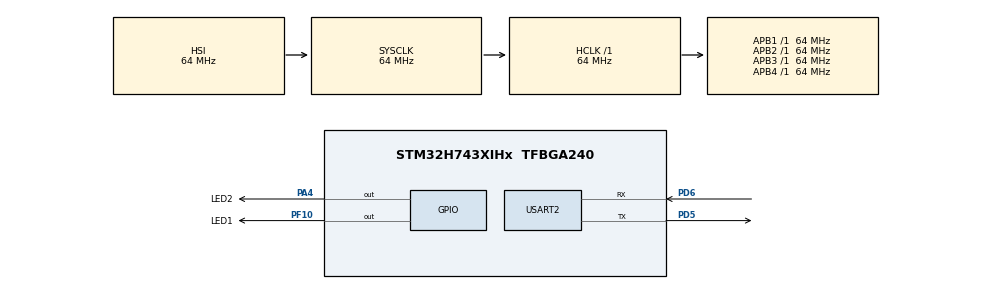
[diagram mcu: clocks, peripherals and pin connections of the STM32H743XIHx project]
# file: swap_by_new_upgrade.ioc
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CORTEX_M7.CPU_DCache=Enabled
CORTEX_M7.CPU_ICache=Enabled
CORTEX_M7.default_mode_Activation=1
Mcu.Family=STM32H7
Mcu.Name=STM32H743XIHx
Mcu.Package=TFBGA240
NVIC.PriorityGroup=NVIC_PRIORITYGROUP_4
NVIC.USART2_IRQn=true\:0\:0\:false\:false\:true\:true\:true\:true
PA4.GPIO_Label=LED2
PA4.PinState=GPIO_PIN_SET
PA4.Signal=GPIO_Output
PD5.Mode=Asynchronous
PD5.Signal=USART2_TX
PD6.Mode=Asynchronous
PD6.Signal=USART2_RX
PF10.GPIO_Label=LED1
PF10.PinState=GPIO_PIN_SET
PF10.Signal=GPIO_Output
PH0-OSC_IN\ (PH0).Mode=HSE-External-Oscillator
PH0-OSC_IN\ (PH0).Signal=RCC_OSC_IN
PH1-OSC_OUT\ (PH1).Mode=HSE-External-Oscillator
PH1-OSC_OUT\ (PH1).Signal=RCC_OSC_OUT
ProjectManager.HeapSize=0x200
ProjectManager.StackSize=0x400
ProjectManager.TargetToolchain=STM32CubeIDE
RCC.ADCFreq_Value=129000000
RCC.APB1Freq_Value=64000000
RCC.APB2Freq_Value=64000000
RCC.APB3Freq_Value=64000000
RCC.APB4Freq_Value=64000000
RCC.CortexFreq_Value=64000000
RCC.HCLKFreq_Value=64000000
RCC.PWR_Regulator_Voltage_Scale=PWR_REGULATOR_VOLTAGE_SCALE1
RCC.SYSCLKFreq_VALUE=64000000
RCC.USBFreq_Value=129000000
STMicroelectronics.X-CUBE-AZRTOS-H7.3.2.0.TX_APP_MEM_POOL_SIZE=512
STMicroelectronics.X-CUBE-AZRTOS-H7.3.2.0_IsAnAzureRtosMw=true
USART2.VirtualMode-Asynchronous=VM_ASYNC
board=STM32H743I-EVAL2

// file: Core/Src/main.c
/* USER CODE BEGIN Header */
/**
 ******************************************************************************
 * @file           : main.c
 * @brief          : Main program body
 ******************************************************************************
 * @attention
 *
 * Copyright (c) 2024 STMicroelectronics.
 * All rights reserved.
 *
 * This software is licensed under terms that can be found in the LICENSE file
 * in the root directory of this software component.
 * If no LICENSE file comes with this software, it is provided AS-IS.
 *
 ******************************************************************************
 */
/* USER CODE END Header */
#include "main.h"
#include "usart.h"
#include "gpio.h"

/* USER CODE BEGIN Includes */
#include <stdlib.h>
#include "MQTTSim800.h"
#include <string.h>
#include <stdio.h>
#include "stm32h743i_eval.h"
#include "stm32h743i_eval_lcd.h"
#include "stm32h743i_eval_ts.h"
#include "fonts.h"
#include "stm32_lcd.h"
#include "stm32h743i_eval_sdram.h"
#include "stm32h7xx_hal.h"
#include "stm32h743i_eval_qspi.h"
#include "stm32h743i_eval_eeprom.h"
#include "stdio.h"
#include"stlogo.h"
/* USER CODE END Includes */

/* USER CODE BEGIN PD */
#define UART_SIM800 &huart2
#define FREERTOS 0
#define CMD_DELAY 2000
/* USER CODE END PD */

/* USER CODE BEGIN PV */
FLASH_OBProgramInitTypeDef OBInit;
SIM800_t SIM800;
uint8_t buf[30] = {0};
unsigned char  rec[64] ;
/* USER CODE END PV */

void SystemClock_Config(void);
static void MPU_Initialize(void);
static void MPU_Config(void);

/* USER CODE BEGIN 0 */
void HAL_UART_RxCpltCallback(UART_HandleTypeDef *huart) {
	if (huart == UART_SIM800) {
		Sim800_RxCallBack();
	}
}
TS_State_t  TS_State = {0};
TS_Init_t  hTS;
char xTouchStr[10];
char yTouchStr[10];
uint16_t x1;
uint16_t y;
uint8_t state = 0;
uint32_t ts_status = BSP_ERROR_NONE;
uint32_t x_size, y_size;
/* USER CODE END 0 */

int main(void)
{

	/* Enable I-Cache---------------------------------------------------------*/
	SCB_EnableICache();

	/* Enable D-Cache---------------------------------------------------------*/
	SCB_EnableDCache();

	/* MCU Configuration--------------------------------------------------------*/

	/* Reset of all peripherals, Initializes the Flash interface and the Systick. */
	HAL_Init();

	/* MPU Configuration--------------------------------------------------------*/
	MPU_Config();

	/* Configure the system clock */
	SystemClock_Config();

	/* Initialize all configured peripherals */
	MX_GPIO_Init();
	MX_USART2_UART_Init();
	/* USER CODE BEGIN 2 */
	// MQQT settings
	BSP_LCD_Init(0, LCD_ORIENTATION_LANDSCAPE);
		UTIL_LCD_SetFuncDriver(&LCD_Driver);
		char desc[50];
		uint32_t x_size;
		uint32_t y_size;

		UTIL_LCD_SetFont(&UTIL_LCD_DEFAULT_FONT);

		/* Clear the LCD */
		UTIL_LCD_SetBackColor(UTIL_LCD_COLOR_GRAY);
		UTIL_LCD_Clear(UTIL_LCD_COLOR_GRAY);

		/* Set the LCD Text Color */
		UTIL_LCD_SetTextColor(UTIL_LCD_COLOR_DARKBLUE);

		/* Display LCD messages */
		UTIL_LCD_DisplayStringAt(0, 10, (uint8_t *)"PFE 2024 SUJET 20", CENTER_MODE);
		UTIL_LCD_SetTextColor(UTIL_LCD_COLOR_MAGENTA);
		UTIL_LCD_DisplayStringAt(0, 100, (uint8_t *)"ELHDI ZAIDI", CENTER_MODE);

		BSP_LCD_GetXSize(0, &x_size);
		BSP_LCD_GetYSize(0, &y_size);

		/* Draw Bitmap */
		UTIL_LCD_DrawBitmap((x_size - 80)/2, 400, (uint8_t *)stlogo);

		hTS.Width = x_size;
		hTS.Height = y_size;
		hTS.Orientation = TS_SWAP_NONE;
		hTS.Accuracy = 1;
		ts_status = BSP_TS_Init(0, &hTS);
	SIM800.sim.apn = "weborange";
	SIM800.sim.apn_user = "";
	SIM800.sim.apn_pass = "";
	SIM800.mqttServer.host = "test.mosquitto.org";
	SIM800.mqttServer.port = 1883;
	SIM800.mqttClient.username = "";
	SIM800.mqttClient.pass = "";
	SIM800.mqttClient.clientID = "TestSub";
	SIM800.mqttClient.keepAliveInterval = 120;

	MQTT_Init();

	uint8_t sub = 0;
	/* USER CODE END 2 */

	/* We should never get here as control is now taken by the scheduler */
	/* Infinite loop */
	while (1)
	{

		/* USER CODE BEGIN 3 */
		ts_status = BSP_TS_GetState(0, &TS_State);
				if(TS_State.TouchDetected)
				{
					 x1 = TS_State.TouchX;
					 y = TS_State.TouchY;

					 sprintf(xTouchStr, "X: %3d",x1);
					 sprintf(yTouchStr, "Y: %3d",y);
					 UTIL_LCD_SetTextColor(UTIL_LCD_COLOR_BLACK);
					 UTIL_LCD_DisplayStringAt(0, 140, (uint8_t *)xTouchStr, CENTER_MODE);
					 UTIL_LCD_DisplayStringAt(100, 140, (uint8_t *)yTouchStr, CENTER_MODE);
				}

		if (SIM800.mqttServer.connect == 0) {
			MQTT_Init();
			sub = 0;
		}
		if (SIM800.mqttServer.connect == 1) {
			if(sub == 0){
				MQTT_Sub("12345");
				sub = 1;
				MQTT_Pub("12345", "connected");

			}

			//HAL_GPIO_TogglePin(LED2_GPIO_Port, LED2_Pin);
			HAL_GPIO_TogglePin(LED2_GPIO_Port, LED2_Pin);
			HAL_GPIO_WritePin(LED1_GPIO_Port, LED1_Pin, GPIO_PIN_SET);
			HAL_Delay(400);
			HAL_GPIO_TogglePin(LED2_GPIO_Port, LED2_Pin);
			HAL_GPIO_WritePin(LED1_GPIO_Port, LED1_Pin, GPIO_PIN_SET);
			HAL_Delay(400);
			HAL_GPIO_TogglePin(LED2_GPIO_Port, LED2_Pin);
			HAL_GPIO_WritePin(LED1_GPIO_Port, LED1_Pin, GPIO_PIN_SET);
			HAL_Delay(400);
			HAL_GPIO_TogglePin(LED1_GPIO_Port, LED1_Pin);
			HAL_GPIO_WritePin(LED2_GPIO_Port, LED2_Pin, GPIO_PIN_SET);
			HAL_Delay(400);
			HAL_GPIO_TogglePin(LED1_GPIO_Port, LED1_Pin);
			HAL_GPIO_WritePin(LED2_GPIO_Port, LED2_Pin, GPIO_PIN_SET);
			HAL_Delay(400);
			HAL_GPIO_TogglePin(LED1_GPIO_Port, LED1_Pin);
			HAL_GPIO_WritePin(LED2_GPIO_Port, LED2_Pin, GPIO_PIN_SET);
			HAL_Delay(400);
			if(SIM800.mqttReceive.newEvent) {
				memcpy(rec,SIM800.mqttReceive.payload,64);
				SIM800.mqttReceive.newEvent = 0;
			}
		}
		if(strcmp(rec,"new firmware")==0)
		{
			HAL_FLASH_Unlock();

			HAL_FLASH_OB_Unlock();
			HAL_FLASHEx_OBGetConfig(&OBInit);

			OBInit.Banks     = FLASH_BANK_1;
			HAL_FLASHEx_OBGetConfig(&OBInit);

			if ((OBInit.USERConfig & OB_SWAP_BANK_ENABLE) == OB_SWAP_BANK_DISABLE)
			{

				OBInit.OptionType = OPTIONBYTE_USER;
				OBInit.USERType   = OB_USER_SWAP_BANK;
				OBInit.USERConfig = OB_SWAP_BANK_ENABLE;
				HAL_FLASHEx_OBProgram(&OBInit);

				HAL_FLASH_OB_Launch();

				HAL_NVIC_SystemReset();

				SCB_InvalidateICache();
			}
			else
			{

				OBInit.OptionType = OPTIONBYTE_USER;
				OBInit.USERType = OB_USER_SWAP_BANK;
				OBInit.USERConfig = OB_SWAP_BANK_DISABLE;
				HAL_FLASHEx_OBProgram(&OBInit);

				HAL_FLASH_OB_Launch();

				HAL_NVIC_SystemReset();

				SCB_InvalidateICache();
			}
		}

	}
	/* USER CODE END 3 */
}

void SystemClock_Config(void)
{
	RCC_OscInitTypeDef RCC_OscInitStruct = {0};
	RCC_ClkInitTypeDef RCC_ClkInitStruct = {0};

	/** Supply configuration update enable
	 */
	HAL_PWREx_ConfigSupply(PWR_LDO_SUPPLY);

	/** Configure the main internal regulator output voltage
	 */
	__HAL_PWR_VOLTAGESCALING_CONFIG(PWR_REGULATOR_VOLTAGE_SCALE1);

	while(!__HAL_PWR_GET_FLAG(PWR_FLAG_VOSRDY)) {}

	/** Initializes the RCC Oscillators according to the specified parameters
	 * in the RCC_OscInitTypeDef structure.
	 */
	RCC_OscInitStruct.OscillatorType = RCC_OSCILLATORTYPE_HSI;
	RCC_OscInitStruct.HSIState = RCC_HSI_DIV1;
	RCC_OscInitStruct.HSICalibrationValue = RCC_HSICALIBRATION_DEFAULT;
	RCC_OscInitStruct.PLL.PLLState = RCC_PLL_NONE;
	if (HAL_RCC_OscConfig(&RCC_OscInitStruct) != HAL_OK)
	{
		Error_Handler();
	}

	/** Initializes the CPU, AHB and APB buses clocks
	 */
	RCC_ClkInitStruct.ClockType = RCC_CLOCKTYPE_HCLK|RCC_CLOCKTYPE_SYSCLK
			|RCC_CLOCKTYPE_PCLK1|RCC_CLOCKTYPE_PCLK2
			|RCC_CLOCKTYPE_D3PCLK1|RCC_CLOCKTYPE_D1PCLK1;
	RCC_ClkInitStruct.SYSCLKSource = RCC_SYSCLKSOURCE_HSI;
	RCC_ClkInitStruct.SYSCLKDivider = RCC_SYSCLK_DIV1;
	RCC_ClkInitStruct.AHBCLKDivider = RCC_HCLK_DIV1;
	RCC_ClkInitStruct.APB3CLKDivider = RCC_APB3_DIV1;
	RCC_ClkInitStruct.APB1CLKDivider = RCC_APB1_DIV1;
	RCC_ClkInitStruct.APB2CLKDivider = RCC_APB2_DIV1;
	RCC_ClkInitStruct.APB4CLKDivider = RCC_APB4_DIV1;

	if (HAL_RCC_ClockConfig(&RCC_ClkInitStruct, FLASH_LATENCY_0) != HAL_OK)
	{
		Error_Handler();
	}
}

/* USER CODE BEGIN 4 */
void HAL_GPIO_EXTI_Callback(uint16_t GPIO_Pin)
{
	if(GPIO_Pin == GPIO_PIN_13) {

	} else {
		__NOP();
	}
}
/* USER CODE END 4 */

/* MPU Configuration */

void MPU_Config(void)
{
	MPU_Region_InitTypeDef MPU_InitStruct = {0};

	/* Disables the MPU */
	HAL_MPU_Disable();

	/** Initializes and configures the Region and the memory to be protected
	 */
	MPU_InitStruct.Enable = MPU_REGION_ENABLE;
	MPU_InitStruct.Number = MPU_REGION_NUMBER0;
	MPU_InitStruct.BaseAddress = 0x0;
	MPU_InitStruct.Size = MPU_REGION_SIZE_4GB;
	MPU_InitStruct.SubRegionDisable = 0x87;
	MPU_InitStruct.TypeExtField = MPU_TEX_LEVEL0;
	MPU_InitStruct.AccessPermission = MPU_REGION_NO_ACCESS;
	MPU_InitStruct.DisableExec = MPU_INSTRUCTION_ACCESS_DISABLE;
	MPU_InitStruct.IsShareable = MPU_ACCESS_SHAREABLE;
	MPU_InitStruct.IsCacheable = MPU_ACCESS_NOT_CACHEABLE;
	MPU_InitStruct.IsBufferable = MPU_ACCESS_NOT_BUFFERABLE;

	HAL_MPU_ConfigRegion(&MPU_InitStruct);
	/* Enables the MPU */
	HAL_MPU_Enable(MPU_PRIVILEGED_DEFAULT);

}

void Error_Handler(void)
{
	__disable_irq();
	while (1)
	{
	}
}
